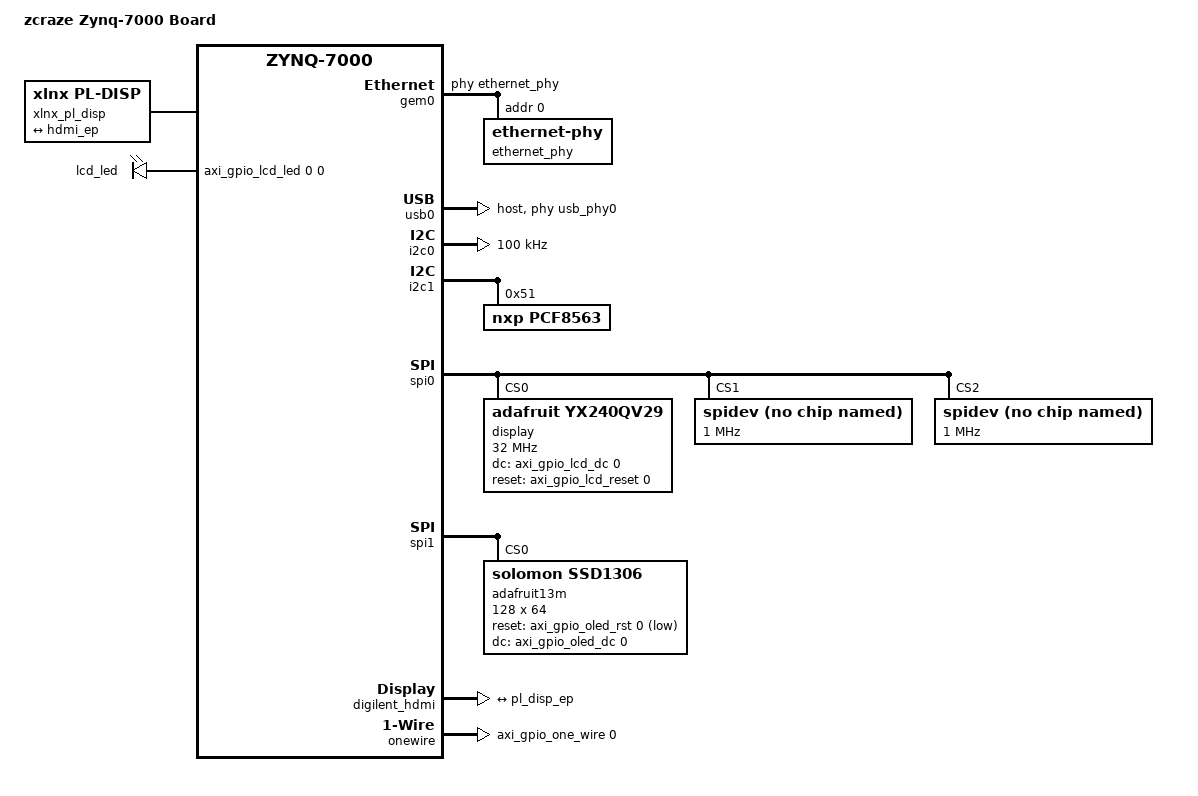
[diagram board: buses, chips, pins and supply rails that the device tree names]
/include/ "system-conf.dtsi"
#include <dt-bindings/gpio/gpio.h>
/* #include </home/rich/petalinux20242/rehsdZynq/xilinx-vip.h> */ /*this doesn't work!?*/
/ {
    model = "zcraze Zynq-7000 Board";
    compatible = "zcraze,zynq-7000", "xlnx,zynq-7000";
    chosen {
        bootargs = "console=ttyPS0,115200 earlycon root=/dev/mmcblk0p2 ro earlyprintk uio_pdrv_genirq.of_id=generic-uio";
    };
    usb_phy0: usb_phy@0 {
        compatible = "ulpi-phy";
        #phy-cells = <0>;
        reg = <0xe0002000 0x1000>;
        view-port = <0x0170>;
        reset-gpios = <&gpio0 46 1>;
        drv-vbus;
    };
};
&gem0 {
    phy-handle = <&ethernet_phy>;
    ethernet_phy: ethernet-phy@0 {
        device_type = "ethernet-phy";
        reg = <0>;
        /* dt-bindings/phy/realtek.h */
        /* #define REALTEK_LED_LINK10 BIT(0)
        #define REALTEK_LED_LINK100 BIT(1)
        #define REALTEK_LED_LINK1000 BIT(3)
        #define REALTEK_LED_ACT BIT(4)
        #define REALTEK_LED_DEFAULT BIT(7)
        */
        /* LED0=10+A, LED1=100+A, LED2=1000+A */
        realtek,leds-config = <0x11 0x12 0x18>;
    };
};
&usb0{
    status = "okay";
    dr_mode = "host";
    usb-phy = <&usb_phy0>;
};
&i2c0 {
    clock-frequency = <100000>;
    status = "okay";
};

&i2c1 {
	status = "okay";
	pcf8563: pcf8563@51 {
		compatible = "nxp,pcf8563";
		reg = <0x51>;
		#clock-cells = <0>;
	};
	/* ds3231: rtc@68 {
		compatible = "maxim,ds3231";
		reg = <0x68>;
	}; */
};

&spi0 {
	is-decoded-cs = <0>;
	num-cs = <3>;
	bus-num = <0>;
	status = "okay";
        display@0{
		compatible = "adafruit,yx240qv29", "ilitek,ili9341";
		reg = <0>;
		spi-max-frequency = <32000000>;
		dc-gpios = <&axi_gpio_lcd_dc 0 GPIO_ACTIVE_HIGH>;
		reset-gpios = <&axi_gpio_lcd_reset 0 GPIO_ACTIVE_HIGH>;
		rotation = <270>;
		/*backlight = <&axi_gpio_lcd_led>;*/
	};
	spidev@0x01 {
		//compatible = "spidev";
		//see https://www.hackster.io/whitney-knitter/spidev-tutorial-for-zynq-7000-fpga-devices-b5e399
		//see https://stackoverflow.com/questions/53634892/linux-spidev-why-it-shouldnt-be-directly-in-devicetree
		compatible = "rohm,dh2228fv";
		spi-max-frequency = <1000000>;    //max of 25 Mhz
		reg = <1>;
		
		//SPI mode
		spi-cpol = <0>;
		spi-cpha = <0>;
	};
	spidev@0x02 {
		compatible = "spidev";
		spi-max-frequency = <1000000>;
		reg = <2>;
	};
};

&spi1 {
        is-decoded-cs = <0>;
        num-cs = <1>;
        bus-num = <0>;
        status = "okay";
        adafruit13m@0 {
                reg = <0x0>;
                compatible = "solomon,ssd1306";
                reset-gpios = <&axi_gpio_oled_rst 0 GPIO_ACTIVE_LOW>;
                dc-gpios = <&axi_gpio_oled_dc 0 GPIO_ACTIVE_HIGH>;
        	buswidth = <0x8>;
		width = <128>;
		height = <64>;
		segment-offset = <0>;
		page-offset = <0>;
		display-offset = <0>;
		multiplex-ratio = <63>;
		segment-remap;
		/*com-invdir;*/
		prechargep = <0x22>;
	};
};

&amba_pl {
    digilent_hdmi {
        compatible = "digilent,hdmi";
        clocks = <&axi_dynclk_0>;
        clock-names = "clk";
        digilent,edid-i2c = <&i2c0>;
        digilent,fmax = <150000>;
        port@0 { 
            hdmi_ep: endpoint { 
                remote-endpoint = <&pl_disp_ep>; 
            }; 
        }; 
    };
    xlnx_pl_disp {
        compatible = "xlnx,pl-disp";
        dmas = <&axi_vdma_0 0>; 
        dma-names = "dma0"; 
        /* xlnx,vtc = <&v_tc_0>; */
        /* dglnt,edid-i2c = <&i2c0 >; */
        xlnx,vformat = "RG24";
        xlnx,bridge = <&v_tc_0>; 
        port@0 { 
            pl_disp_ep: endpoint { 
                remote-endpoint = <&hdmi_ep>; 
            }; 
        };
    };
    //https://www.kernel.org/doc/Documentation/devicetree/bindings/leds/leds-gpio.txt
    leds {
        compatible = "gpio-leds";
        lcd_led {
            label = "lcd_led";
            gpios = <&axi_gpio_lcd_led 0 0 0>;
            default-state = "on";
        };
    };
    onewire {
	compatible = "w1-gpio";
	pinctrl-names = "default";
	/*gpios = <&gpio0 0 0> ;*/
	gpios = <&axi_gpio_one_wire 0 0> ;       
	status = "okay";
    };
};
&axi_vdma_0 {
    dma-ranges = <0x00000000 0x00000000 0x40000000>;
};
&axi_dynclk_0 {
    compatible = "dglnt,axi-dynclk";
    #clock-cells = <0>;
    clocks = <&clkc 15>;
};
&v_tc_0 {
    compatible = "xlnx,bridge-v-tc-6.1";
    xlnx,pixels-per-clock = <1>; 
    /* clock-names = "s_axi_aclk", "clk"; */
    /* clocks = <&clkc 15>, <&axi_dynclk_0>; */ 
};
&axi_gpio_hdmi {
    compatible = "generic-uio";
};
